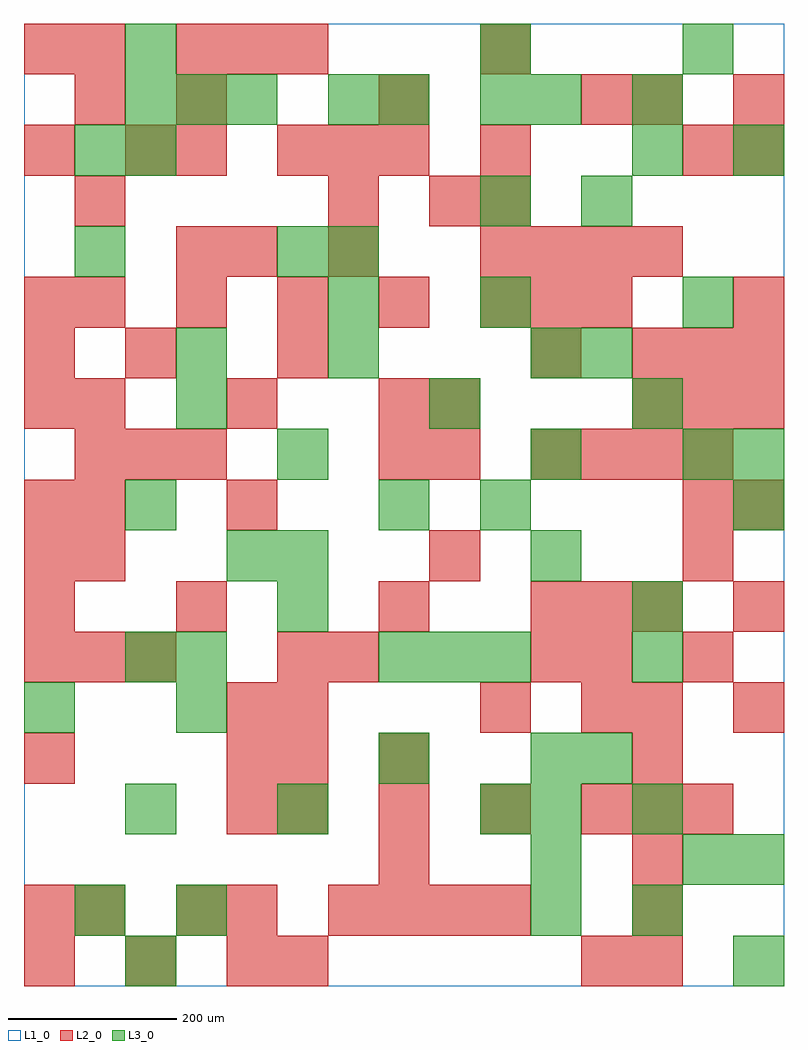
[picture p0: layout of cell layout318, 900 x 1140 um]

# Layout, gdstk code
import gdstk
lib = gdstk.Library(unit=1e-6, precision=1e-09)
def R(c, l, rs):  # rectangles x0, y0, x1, y1
    for r in rs: c.add(gdstk.rectangle(r[:2], r[2:], *l))
def A(c, l, x, y, w, h, nx, ny, dx, dy):  # array of equal rectangles
    R(c, l, [(x+i*dx, y+j*dy, x+i*dx+w, y+j*dy+h) for i in range(nx) for j in range(ny)])
L1_0 = (1, 0)
L2_0 = (2, 0)
L3_0 = (3, 0)

layout318 = lib.new_cell('layout318')
R(layout318, L1_0, [(0,0,900,1140)])
A(layout318, L2_0, 0, 0, 60, 60, 3, 1, 120, 0)
A(layout318, L2_0, 720, 0, 60, 60, 1, 6, 0, 60)
A(layout318, L2_0, 0, 60, 60, 60, 1, 3, 0, 180)
A(layout318, L2_0, 360, 60, 60, 60, 4, 1, 60, 0)
A(layout318, L2_0, 240, 180, 60, 60, 1, 3, 0, 60)
A(layout318, L2_0, 300, 180, 60, 60, 4, 1, 120, 0)
A(layout318, L2_0, 300, 240, 60, 60, 1, 3, 0, 60)
A(layout318, L2_0, 420, 240, 60, 60, 1, 3, 0, 180)
A(layout318, L2_0, 840, 300, 60, 60, 1, 3, 0, 120)
A(layout318, L2_0, 0, 360, 60, 60, 3, 1, 60, 0)
A(layout318, L2_0, 600, 420, 60, 60, 3, 1, 60, 0)
A(layout318, L2_0, 60, 600, 60, 60, 3, 1, 60, 0)
A(layout318, L2_0, 600, 600, 60, 60, 4, 1, 60, 0)
A(layout318, L2_0, 0, 660, 60, 60, 1, 3, 0, 60)
A(layout318, L2_0, 60, 660, 60, 60, 3, 1, 180, 0)
A(layout318, L2_0, 720, 660, 60, 60, 3, 2, 60, 60)
A(layout318, L2_0, 60, 780, 60, 60, 5, 1, 120, 0)
A(layout318, L2_0, 540, 840, 60, 60, 4, 1, 60, 0)
A(layout318, L2_0, 300, 960, 60, 60, 3, 1, 60, 0)
A(layout318, L2_0, 180, 1020, 60, 60, 3, 1, 240, 0)
A(layout318, L2_0, 180, 1080, 60, 60, 3, 1, 60, 0)
R(layout318, L2_0, [(300,0,360,60), (660,0,720,60), (60,60,120,120), (180,60,240,120), (240,60,300,120), (420,120,480,180), (780,180,840,240), (540,300,600,360), (660,300,720,360), (360,360,420,420), (600,360,660,420), (660,360,720,420), (780,360,840,420), (180,420,240,480), (0,480,60,540), (60,480,120,540), (480,480,540,540), (780,480,840,540), (0,540,60,600), (60,540,120,600), (240,540,300,600), (780,540,840,600), (480,600,540,660), (480,660,540,720), (120,720,180,780), (300,720,360,780), (600,720,660,780), (600,780,660,840), (660,780,720,840), (840,780,900,840), (180,840,240,900), (240,840,300,900), (360,840,420,900), (60,900,120,960), (360,900,420,960), (480,900,540,960), (540,900,600,960), (0,960,60,1020), (120,960,180,1020), (180,960,240,1020), (540,960,600,1020), (780,960,840,1020), (840,960,900,1020), (60,1020,120,1080), (720,1020,780,1080), (840,1020,900,1080), (0,1080,60,1140), (60,1080,120,1140), (540,1080,600,1140)])
A(layout318, L3_0, 120, 0, 60, 60, 1, 4, 0, 180)
A(layout318, L3_0, 600, 60, 60, 60, 1, 4, 0, 60)
A(layout318, L3_0, 420, 360, 60, 60, 3, 1, 60, 0)
A(layout318, L3_0, 600, 480, 60, 60, 1, 3, 0, 120)
A(layout318, L3_0, 360, 720, 60, 60, 1, 3, 0, 60)
A(layout318, L3_0, 540, 780, 60, 60, 1, 3, 0, 120)
A(layout318, L3_0, 120, 1020, 60, 60, 3, 1, 60, 0)
R(layout318, L3_0, [(840,0,900,60), (60,60,120,120), (180,60,240,120), (720,60,780,120), (780,120,840,180), (840,120,900,180), (300,180,360,240), (540,180,600,240), (720,180,780,240), (420,240,480,300), (660,240,720,300), (0,300,60,360), (180,300,240,360), (180,360,240,420), (720,360,780,420), (300,420,360,480), (720,420,780,480), (240,480,300,540), (300,480,360,540), (420,540,480,600), (540,540,600,600), (840,540,900,600), (300,600,360,660), (780,600,840,660), (840,600,900,660), (180,660,240,720), (480,660,540,720), (720,660,780,720), (180,720,240,780), (660,720,720,780), (780,780,840,840), (60,840,120,900), (300,840,360,900), (660,900,720,960), (60,960,120,1020), (120,960,180,1020), (720,960,780,1020), (840,960,900,1020), (360,1020,420,1080), (420,1020,480,1080), (600,1020,660,1080), (720,1020,780,1080), (120,1080,180,1140), (540,1080,600,1140), (780,1080,840,1140)])

lib.write_gds('layout318.gds')
